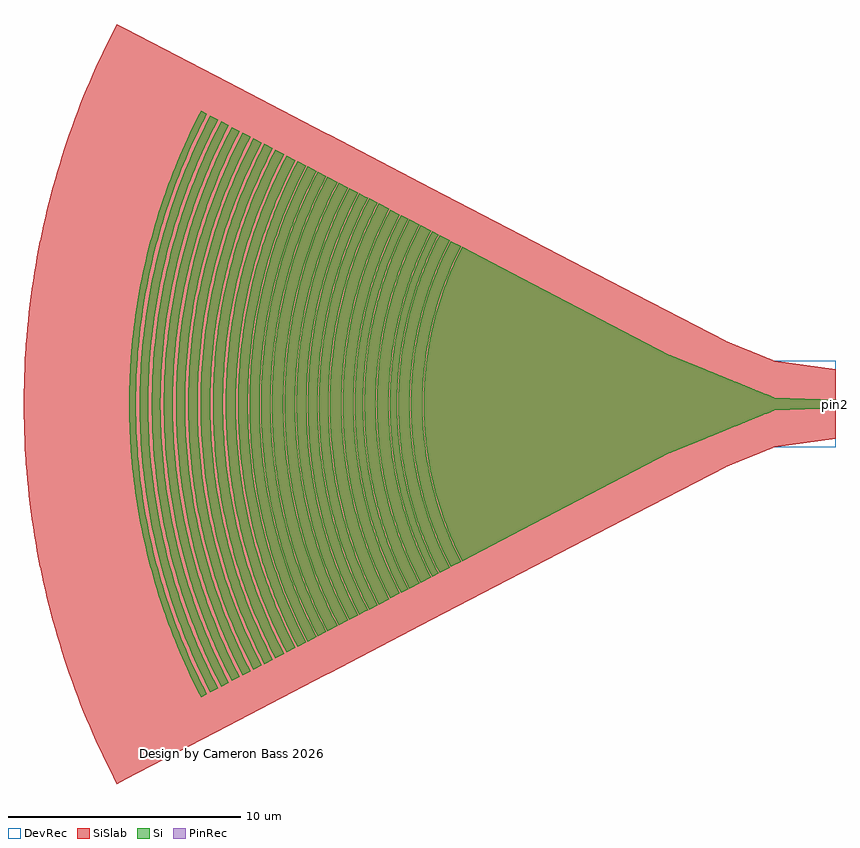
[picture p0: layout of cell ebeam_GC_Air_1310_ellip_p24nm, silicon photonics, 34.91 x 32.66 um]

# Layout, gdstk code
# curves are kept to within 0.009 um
import gdstk
lib = gdstk.Library(unit=1e-6, precision=1e-09)
def P(c, l, *ps):  # polygons
    for p in ps: c.add(gdstk.Polygon(p, *l))
Si = (1, 0)
PinRec = (1, 10)
SiSlab = (2, 0)
DevRec = (68, 0)

ebeam_gc_air_1310_ellip_ = lib.new_cell('ebeam_GC_Air_1310_ellip_p24nm')
P(ebeam_gc_air_1310_ellip_, Si, [(-16.058,-6.748),(-16.432,-5.979),(-16.807,-5.061),(-17.036,-4.391),(-17.301,-3.437),(-17.478,-2.605),(-17.605,-1.766),(-17.683,-0.92),(-17.711,-0.071),(-17.683,0.92),(-17.605,1.766),(-17.478,2.606),(-17.301,3.437),(-17.036,4.391),(-16.807,5.061),(-16.432,5.979),(-16.058,6.748),(-7.069,2.073),(-2.648,0.274),(0,0.175),(0,-0.175),(-2.684,-0.284),(-2.836,-0.359),(-3.176,-0.486),(-7.069,-2.073)],
  [(-16.55,-7.003),(-16.935,-6.209),(-17.272,-5.393),(-17.562,-4.56),(-17.802,-3.712),(-17.994,-2.851),(-18.134,-1.979),(-18.233,-0.956),(-18.263,-0.073),(-18.242,0.808),(-18.152,1.834),(-18.021,2.706),(-17.837,3.569),(-17.605,4.42),(-17.324,5.256),(-16.935,6.209),(-16.551,7.004),(-16.105,6.772),(-16.479,6),(-16.856,5.08),(-17.127,4.272),(-17.352,3.449),(-17.528,2.616),(-17.656,1.772),(-17.743,0.781),(-17.763,-0.071),(-17.743,-0.781),(-17.656,-1.772),(-17.502,-2.755),(-17.318,-3.587),(-17.085,-4.408),(-16.806,-5.212),(-16.479,-6),(-16.105,-6.772)],
  [(-17.031,-7.254),(-17.429,-6.433),(-17.778,-5.589),(-18.078,-4.725),(-18.327,-3.846),(-18.525,-2.954),(-18.67,-2.051),(-18.763,-1.142),(-18.79,-0.685),(-18.804,-0.076),(-18.782,0.837),(-18.707,1.749),(-18.628,2.353),(-18.553,2.803),(-18.363,3.698),(-18.123,4.579),(-17.832,5.445),(-17.429,6.433),(-17.031,7.254),(-16.596,7.028),(-16.859,6.499),(-17.042,6.095),(-17.373,5.275),(-17.655,4.435),(-17.889,3.581),(-18.071,2.716),(-18.204,1.84),(-18.285,0.958),(-18.315,0.074),(-18.294,-0.811),(-18.204,-1.84),(-18.071,-2.716),(-17.889,-3.581),(-17.655,-4.435),(-17.321,-5.413),(-16.982,-6.23),(-16.596,-7.028)],
  [(-17.351,-7.421),(-17.561,-7.005),(-17.821,-6.439),(-18.171,-5.571),(-18.422,-4.834),(-18.677,-3.935),(-18.88,-3.021),(-18.961,-2.561),(-19.048,-1.944),(-19.134,-1.013),(-19.165,-0.078),(-19.161,0.39),(-19.134,1.013),(-19.048,1.944),(-18.908,2.868),(-18.714,3.784),(-18.468,4.685),(-18.171,5.571),(-17.758,6.582),(-17.351,7.421),(-17.078,7.278),(-17.538,6.314),(-17.881,5.464),(-18.081,4.886),(-18.259,4.301),(-18.378,3.859),(-18.516,3.263),(-18.679,2.36),(-18.775,1.602),(-18.834,0.841),(-18.856,0.077),(-18.841,-0.688),(-18.79,-1.45),(-18.679,-2.36),(-18.546,-3.113),(-18.45,-3.561),(-18.3,-4.154),(-18.173,-4.595),(-17.983,-5.176),(-17.772,-5.749),(-17.538,-6.314),(-17.078,-7.278)],
  [(-17.847,-7.679),(-18.267,-6.811),(-18.694,-5.766),(-19.002,-4.849),(-19.256,-3.916),(-19.457,-2.968),(-19.601,-2.012),(-19.69,-1.047),(-19.723,-0.08),(-19.699,0.887),(-19.62,1.852),(-19.485,2.81),(-19.396,3.286),(-19.256,3.916),(-19.002,4.849),(-18.694,5.766),(-18.267,6.812),(-17.847,7.679),(-17.398,7.445),(-17.805,6.603),(-18.164,5.736),(-18.472,4.85),(-18.728,3.948),(-18.836,3.491),(-18.959,2.878),(-19.099,1.95),(-19.163,1.328),(-19.195,0.859),(-19.217,0.078),(-19.195,-0.859),(-19.163,-1.328),(-19.099,-1.95),(-18.959,-2.878),(-18.765,-3.795),(-18.648,-4.25),(-18.472,-4.85),(-18.164,-5.737),(-17.805,-6.603),(-17.398,-7.445)],
  [(-18.327,-7.929),(-18.761,-7.033),(-19.142,-6.11),(-19.314,-5.641),(-19.52,-5.007),(-19.782,-4.043),(-19.989,-3.065),(-20.139,-2.077),(-20.23,-1.083),(-20.264,-0.083),(-20.24,0.916),(-20.192,1.58),(-20.139,2.077),(-19.989,3.065),(-19.782,4.043),(-19.52,5.007),(-19.201,5.954),(-19.021,6.42),(-18.761,7.034),(-18.327,7.929),(-17.895,7.704),(-18.316,6.833),(-18.508,6.388),(-18.744,5.785),(-19.053,4.865),(-19.309,3.928),(-19.509,2.978),(-19.654,2.018),(-19.744,1.051),(-19.777,0.081),(-19.753,-0.89),(-19.673,-1.857),(-19.537,-2.819),(-19.449,-3.296),(-19.309,-3.927),(-19.053,-4.864),(-18.905,-5.326),(-18.687,-5.937),(-18.316,-6.833),(-17.895,-7.704)],
  [(-18.689,-8.117),(-19.133,-7.2),(-19.4,-6.572),(-19.584,-6.095),(-19.91,-5.126),(-20.179,-4.139),(-20.391,-3.138),(-20.544,-2.126),(-20.638,-1.108),(-20.672,-0.085),(-20.648,0.937),(-20.564,1.958),(-20.421,2.97),(-20.327,3.473),(-20.179,4.139),(-19.91,5.126),(-19.584,6.095),(-19.202,7.045),(-18.991,7.51),(-18.689,8.117),(-18.374,7.954),(-18.809,7.055),(-19.192,6.129),(-19.521,5.182),(-19.794,4.218),(-20.01,3.239),(-20.17,2.25),(-20.272,1.252),(-20.301,0.752),(-20.317,0.084),(-20.293,-0.919),(-20.228,-1.751),(-20.123,-2.58),(-19.979,-3.403),(-19.873,-3.892),(-19.709,-4.541),(-19.521,-5.182),(-19.363,-5.658),(-19.192,-6.129),(-18.943,-6.748),(-18.669,-7.359),(-18.374,-7.953)],
  [(-19.147,-8.356),(-19.604,-7.413),(-19.879,-6.766),(-20.069,-6.275),(-20.404,-5.277),(-20.681,-4.261),(-20.899,-3.23),(-21.057,-2.189),(-21.153,-1.141),(-21.189,-0.088),(-21.179,0.615),(-21.153,1.141),(-21.057,2.189),(-20.899,3.23),(-20.681,4.26),(-20.404,5.277),(-20.069,6.275),(-19.675,7.253),(-19.382,7.89),(-19.147,8.356),(-18.737,8.142),(-19.182,7.222),(-19.45,6.592),(-19.634,6.114),(-19.961,5.141),(-20.232,4.151),(-20.443,3.148),(-20.597,2.133),(-20.691,1.111),(-20.726,0.086),(-20.701,-0.941),(-20.617,-1.963),(-20.473,-2.979),(-20.38,-3.483),(-20.232,-4.151),(-19.961,-5.141),(-19.749,-5.791),(-19.574,-6.274),(-19.182,-7.221),(-18.737,-8.142)],
  [(-19.646,-8.616),(-20.115,-7.646),(-20.53,-6.643),(-20.886,-5.616),(-21.182,-4.571),(-21.417,-3.511),(-21.59,-2.438),(-21.7,-1.357),(-21.731,-0.815),(-21.749,-0.09),(-21.723,0.995),(-21.633,2.079),(-21.482,3.154),(-21.382,3.688),(-21.225,4.396),(-20.94,5.443),(-20.594,6.472),(-20.188,7.481),(-19.964,7.975),(-19.646,8.616),(-19.195,8.381),(-19.652,7.434),(-20.056,6.459),(-20.236,5.962),(-20.455,5.293),(-20.691,4.444),(-20.918,3.413),(-21.087,2.371),(-21.165,1.671),(-21.206,1.143),(-21.242,0.088),(-21.237,-0.44),(-21.206,-1.143),(-21.109,-2.195),(-20.951,-3.24),(-20.733,-4.273),(-20.455,-5.292),(-20.236,-5.962),(-20.056,-6.459),(-19.652,-7.434),(-19.195,-8.381)],
  [(-20.061,-8.832),(-20.543,-7.836),(-20.968,-6.808),(-21.334,-5.755),(-21.637,-4.684),(-21.878,-3.598),(-22.055,-2.498),(-22.168,-1.391),(-22.2,-0.835),(-22.218,-0.093),(-22.191,1.02),(-22.1,2.13),(-22.03,2.682),(-21.912,3.415),(-21.681,4.505),(-21.388,5.578),(-21.034,6.633),(-20.618,7.667),(-20.388,8.173),(-20.061,8.832),(-19.697,8.642),(-20.167,7.668),(-20.584,6.661),(-20.941,5.633),(-21.238,4.584),(-21.473,3.52),(-21.567,2.984),(-21.669,2.265),(-21.769,1.179),(-21.806,0.091),(-21.78,-0.999),(-21.743,-1.542),(-21.669,-2.264),(-21.506,-3.342),(-21.281,-4.407),(-20.994,-5.459),(-20.648,-6.492),(-20.241,-7.501),(-20.015,-7.998),(-19.697,-8.642)],
  [(-20.481,-9.051),(-20.976,-8.029),(-21.412,-6.975),(-21.786,-5.897),(-22.097,-4.8),(-22.228,-4.244),(-22.379,-3.499),(-22.549,-2.371),(-22.654,-1.236),(-22.693,-0.095),(-22.665,1.045),(-22.571,2.183),(-22.412,3.312),(-22.308,3.873),(-22.142,4.616),(-21.95,5.351),(-21.786,5.897),(-21.412,6.975),(-20.976,8.029),(-20.481,9.051),(-20.109,8.857),(-20.592,7.857),(-21.019,6.826),(-21.384,5.772),(-21.594,5.058),(-21.734,4.516),(-21.964,3.425),(-22.131,2.321),(-22.233,1.208),(-22.261,0.651),(-22.271,0.093),(-22.244,-1.023),(-22.19,-1.766),(-22.131,-2.32),(-21.964,-3.425),(-21.734,-4.516),(-21.594,-5.058),(-21.384,-5.772),(-21.019,-6.825),(-20.592,-7.857),(-20.109,-8.857)],
  [(-20.916,-9.277),(-21.177,-8.758),(-21.503,-8.049),(-21.94,-6.964),(-22.312,-5.857),(-22.573,-4.919),(-22.707,-4.349),(-22.862,-3.585),(-23.037,-2.43),(-23.144,-1.265),(-23.183,-0.097),(-23.178,0.488),(-23.144,1.265),(-23.037,2.43),(-22.862,3.586),(-22.619,4.73),(-22.312,5.857),(-21.94,6.965),(-21.503,8.05),(-21.177,8.757),(-20.916,9.277),(-20.533,9.077),(-21.029,8.05),(-21.328,7.349),(-21.534,6.815),(-21.898,5.731),(-22.2,4.627),(-22.436,3.509),(-22.607,2.378),(-22.712,1.238),(-22.751,0.096),(-22.74,-0.667),(-22.712,-1.238),(-22.607,-2.377),(-22.436,-3.509),(-22.2,-4.627),(-22.057,-5.182),(-21.842,-5.913),(-21.467,-6.993),(-21.029,-8.05),(-20.533,-9.077)],
  [(-21.367,-9.512),(-21.721,-8.8),(-21.968,-8.254),(-22.416,-7.142),(-22.798,-6.006),(-23.113,-4.85),(-23.362,-3.677),(-23.541,-2.492),(-23.651,-1.298),(-23.691,-0.1),(-23.686,0.5),(-23.651,1.299),(-23.541,2.492),(-23.362,3.677),(-23.113,4.85),(-22.798,6.006),(-22.416,7.142),(-21.968,8.255),(-21.635,8.98),(-21.367,9.512),(-20.963,9.301),(-21.472,8.249),(-21.921,7.166),(-22.305,6.059),(-22.525,5.31),(-22.671,4.741),(-22.801,4.17),(-22.913,3.595),(-23.089,2.436),(-23.196,1.269),(-23.225,0.684),(-23.236,0.098),(-23.208,-1.074),(-23.151,-1.854),(-23.089,-2.436),(-22.913,-3.595),(-22.801,-4.17),(-22.671,-4.741),(-22.525,-5.31),(-22.305,-6.059),(-21.921,-7.165),(-21.472,-8.249),(-20.963,-9.301)],
  [(-21.855,-9.765),(-22.128,-9.222),(-22.387,-8.664),(-22.631,-8.099),(-22.857,-7.527),(-23.068,-6.949),(-23.262,-6.364),(-23.597,-5.18),(-23.782,-4.38),(-23.901,-3.776),(-24.002,-3.169),(-24.085,-2.559),(-24.198,-1.333),(-24.228,-0.718),(-24.239,-0.102),(-24.21,1.128),(-24.109,2.356),(-24.002,3.169),(-23.901,3.776),(-23.646,4.981),(-23.493,5.577),(-23.322,6.168),(-23.135,6.755),(-22.93,7.335),(-22.631,8.099),(-22.387,8.665),(-22.128,9.222),(-21.855,9.766),(-21.414,9.536),(-21.935,8.458),(-22.395,7.348),(-22.789,6.213),(-23.117,5.057),(-23.256,4.472),(-23.376,3.883),(-23.568,2.697),(-23.69,1.501),(-23.725,0.901),(-23.744,0.1),(-23.715,-1.102),(-23.657,-1.901),(-23.593,-2.498),(-23.413,-3.687),(-23.165,-4.862),(-22.848,-6.022),(-22.466,-7.161),(-22.173,-7.907),(-21.935,-8.458),(-21.414,-9.536)],
  [(-22.269,-9.981),(-22.548,-9.425),(-22.813,-8.855),(-23.062,-8.277),(-23.294,-7.693),(-23.509,-7.102),(-23.769,-6.304),(-24.1,-5.091),(-24.36,-3.859),(-24.463,-3.239),(-24.548,-2.615),(-24.664,-1.363),(-24.706,-0.105),(-24.676,1.153),(-24.573,2.407),(-24.494,3.031),(-24.397,3.653),(-24.282,4.272),(-24.1,5.091),(-23.769,6.304),(-23.577,6.904),(-23.368,7.496),(-22.898,8.664),(-22.548,9.425),(-22.269,9.981),(-21.902,9.79),(-22.263,9.06),(-22.518,8.498),(-22.833,7.738),(-23.049,7.16),(-23.249,6.576),(-23.488,5.789),(-23.648,5.193),(-23.834,4.391),(-24.053,3.176),(-24.182,2.156),(-24.262,1.131),(-24.292,0.103),(-24.286,-0.515),(-24.262,-1.131),(-24.182,-2.157),(-24.053,-3.176),(-23.834,-4.391),(-23.648,-5.193),(-23.488,-5.789),(-23.249,-6.575),(-23.049,-7.16),(-22.757,-7.929),(-22.518,-8.497),(-22.263,-9.06),(-21.902,-9.79)],
  [(-22.703,-10.207),(-22.99,-9.637),(-23.261,-9.054),(-23.516,-8.463),(-23.753,-7.866),(-23.973,-7.261),(-24.175,-6.65),(-24.417,-5.827),(-24.577,-5.205),(-24.719,-4.577),(-24.843,-3.946),(-24.949,-3.312),(-25.036,-2.674),(-25.104,-2.034),(-25.154,-1.393),(-25.185,-0.751),(-25.197,-0.107),(-25.191,0.536),(-25.166,1.179),(-25.123,1.821),(-25.061,2.461),(-24.98,3.099),(-24.881,3.735),(-24.763,4.368),(-24.577,5.205),(-24.417,5.827),(-24.238,6.446),(-24.042,7.059),(-23.829,7.665),(-23.597,8.265),(-23.348,8.859),(-22.99,9.637),(-22.703,10.207),(-22.319,10.007),(-22.689,9.26),(-22.95,8.685),(-23.272,7.908),(-23.492,7.318),(-23.761,6.521),(-23.941,5.916),(-24.105,5.307),(-24.295,4.488),(-24.486,3.455),(-24.629,2.413),(-24.72,1.365),(-24.751,0.736),(-24.763,0.105),(-24.743,-0.946),(-24.651,-2.204),(-24.519,-3.246),(-24.295,-4.488),(-24.105,-5.307),(-23.941,-5.917),(-23.761,-6.521),(-23.492,-7.318),(-23.272,-7.908),(-22.95,-8.685),(-22.689,-9.26),(-22.319,-10.007)],
  [(-23.135,-10.432),(-23.431,-9.845),(-23.708,-9.249),(-23.968,-8.645),(-24.211,-8.035),(-24.436,-7.417),(-24.643,-6.793),(-24.831,-6.164),(-25.001,-5.529),(-25.286,-4.247),(-25.4,-3.599),(-25.495,-2.949),(-25.571,-2.297),(-25.643,-1.423),(-25.675,-0.767),(-25.687,-0.109),(-25.681,0.547),(-25.656,1.204),(-25.611,1.86),(-25.548,2.514),(-25.465,3.166),(-25.326,4.031),(-25.244,4.462),(-25.053,5.317),(-24.889,5.953),(-24.707,6.584),(-24.507,7.211),(-24.289,7.83),(-23.797,9.049),(-23.526,9.647),(-23.135,10.432),(-22.767,10.241),(-23.327,9.081),(-23.583,8.489),(-23.897,7.688),(-24.178,6.876),(-24.429,6.052),(-24.648,5.22),(-24.791,4.591),(-24.987,3.534),(-25.08,2.896),(-25.155,2.254),(-25.238,1.183),(-25.27,0.108),(-25.249,-0.968),(-25.155,-2.255),(-24.987,-3.534),(-24.791,-4.591),(-24.648,-5.22),(-24.429,-6.052),(-24.178,-6.876),(-23.897,-7.688),(-23.583,-8.489),(-23.327,-9.081),(-22.767,-10.24)],
  [(-23.604,-10.677),(-23.91,-10.07),(-24.194,-9.461),(-24.46,-8.843),(-24.708,-8.219),(-24.939,-7.587),(-25.15,-6.949),(-25.343,-6.305),(-25.517,-5.656),(-25.672,-5.001),(-25.808,-4.344),(-25.96,-3.46),(-26.051,-2.794),(-26.122,-2.125),(-26.174,-1.456),(-26.207,-0.784),(-26.22,-0.112),(-26.213,0.561),(-26.187,1.232),(-26.142,1.903),(-26.077,2.572),(-25.992,3.238),(-25.888,3.903),(-25.72,4.783),(-25.57,5.439),(-25.403,6.089),(-25.216,6.735),(-25.011,7.376),(-24.788,8.009),(-24.545,8.636),(-24.285,9.256),(-24.007,9.868),(-23.604,10.677),(-23.225,10.479),(-23.522,9.886),(-23.801,9.288),(-24.063,8.683),(-24.384,7.864),(-24.603,7.241),(-24.868,6.402),(-25.1,5.553),(-25.299,4.696),(-25.5,3.614),(-25.649,2.524),(-25.712,1.868),(-25.757,1.21),(-25.789,0.11),(-25.768,-0.99),(-25.73,-1.648),(-25.672,-2.306),(-25.534,-3.397),(-25.299,-4.696),(-25.153,-5.339),(-24.929,-6.191),(-24.672,-7.032),(-24.458,-7.656),(-24.146,-8.479),(-23.89,-9.087),(-23.617,-9.688),(-23.225,-10.479)],
  [(-24.087,-10.928),(-24.403,-10.301),(-24.693,-9.678),(-24.966,-9.046),(-25.22,-8.408),(-25.456,-7.762),(-25.672,-7.108),(-25.869,-6.45),(-26.047,-5.786),(-26.206,-5.116),(-26.346,-4.444),(-26.501,-3.54),(-26.594,-2.858),(-26.667,-2.174),(-26.72,-1.489),(-26.754,-0.802),(-26.767,-0.114),(-26.76,0.574),(-26.734,1.26),(-26.687,1.946),(-26.594,2.859),(-26.501,3.54),(-26.388,4.218),(-26.302,4.669),(-26.102,5.564),(-25.931,6.229),(-25.74,6.89),(-25.53,7.545),(-25.301,8.193),(-25.052,8.835),(-24.786,9.469),(-24.403,10.301),(-24.087,10.928),(-23.713,10.733),(-24.02,10.12),(-24.306,9.508),(-24.574,8.888),(-24.903,8.05),(-25.198,7.198),(-25.399,6.553),(-25.636,5.684),(-25.84,4.807),(-26.046,3.7),(-26.199,2.584),(-26.297,1.462),(-26.33,0.788),(-26.343,0.113),(-26.321,-1.013),(-26.281,-1.687),(-26.223,-2.36),(-26.081,-3.477),(-25.886,-4.586),(-25.743,-5.247),(-25.522,-6.12),(-25.267,-6.984),(-24.979,-7.838),(-24.743,-8.47),(-24.397,-9.302),(-24.02,-10.12),(-23.713,-10.733)],
  [(-24.557,-11.173),(-24.882,-10.529),(-25.179,-9.892),(-25.458,-9.246),(-25.717,-8.594),(-25.959,-7.933),(-26.18,-7.266),(-26.444,-6.367),(-26.62,-5.687),(-26.824,-4.772),(-26.912,-4.311),(-27.027,-3.618),(-27.122,-2.922),(-27.197,-2.222),(-27.252,-1.521),(-27.286,-0.82),(-27.299,-0.117),(-27.286,0.82),(-27.252,1.522),(-27.197,2.223),(-27.122,2.922),(-27.027,3.617),(-26.912,4.311),(-26.824,4.772),(-26.62,5.687),(-26.444,6.367),(-26.249,7.042),(-26.034,7.712),(-25.8,8.374),(-25.458,9.247),(-25.179,9.892),(-24.882,10.529),(-24.557,11.173),(-24.194,10.984),(-24.611,10.145),(-24.898,9.515),(-25.166,8.878),(-25.493,8.017),(-25.788,7.144),(-25.986,6.482),(-26.166,5.814),(-26.374,4.917),(-26.585,3.785),(-26.741,2.643),(-26.842,1.496),(-26.875,0.806),(-26.888,0.115),(-26.866,-1.036),(-26.788,-2.185),(-26.654,-3.329),(-26.547,-4.012),(-26.421,-4.691),(-26.221,-5.59),(-26.048,-6.26),(-25.788,-7.144),(-25.57,-7.8),(-25.251,-8.664),(-24.898,-9.515),(-24.611,-10.145),(-24.194,-10.984)],
  [(-25.03,-11.419),(-25.363,-10.759),(-25.667,-10.109),(-25.951,-9.449),(-26.217,-8.782),(-26.463,-8.107),(-26.689,-7.425),(-26.896,-6.737),(-27.082,-6.043),(-27.247,-5.344),(-27.394,-4.641),(-27.518,-3.934),(-27.623,-3.223),(-27.706,-2.51),(-27.769,-1.794),(-27.82,-0.838),(-27.834,-0.12),(-27.827,0.599),(-27.799,1.316),(-27.75,2.033),(-27.681,2.748),(-27.59,3.46),(-27.438,4.405),(-27.298,5.111),(-27.139,5.811),(-26.96,6.506),(-26.76,7.197),(-26.541,7.881),(-26.302,8.557),(-26.042,9.228),(-25.667,10.109),(-25.363,10.759),(-25.03,11.419),(-24.674,11.234),(-25.102,10.373),(-25.395,9.729),(-25.669,9.078),(-26.004,8.198),(-26.305,7.305),(-26.508,6.628),(-26.692,5.945),(-26.905,5.028),(-27.12,3.87),(-27.28,2.703),(-27.349,2),(-27.397,1.295),(-27.431,0.118),(-27.424,-0.588),(-27.397,-1.295),(-27.305,-2.469),(-27.157,-3.637),(-27.041,-4.335),(-26.905,-5.028),(-26.692,-5.945),(-26.508,-6.627),(-26.305,-7.305),(-26.004,-8.198),(-25.669,-9.078),(-25.395,-9.729),(-25,-10.586),(-24.674,-11.233)],
  [(-25.492,-11.659),(-25.832,-10.985),(-26.142,-10.321),(-26.432,-9.647),(-26.703,-8.966),(-26.955,-8.277),(-27.186,-7.581),(-27.397,-6.879),(-27.587,-6.17),(-27.756,-5.456),(-27.905,-4.739),(-28.071,-3.775),(-28.17,-3.048),(-28.248,-2.319),(-28.305,-1.588),(-28.34,-0.856),(-28.355,-0.122),(-28.34,0.856),(-28.305,1.588),(-28.248,2.319),(-28.17,3.048),(-28.071,3.775),(-27.95,4.498),(-27.808,5.218),(-27.645,5.933),(-27.462,6.643),(-27.259,7.347),(-27.035,8.046),(-26.79,8.737),(-26.525,9.421),(-26.142,10.321),(-25.832,10.985),(-25.492,11.659),(-25.148,11.48),(-25.586,10.6),(-25.885,9.942),(-26.255,9.053),(-26.508,8.377),(-26.816,7.465),(-27.023,6.773),(-27.269,5.842),(-27.429,5.138),(-27.649,3.955),(-27.754,3.24),(-27.838,2.523),(-27.931,1.324),(-27.966,0.121),(-27.943,-1.083),(-27.901,-1.803),(-27.838,-2.522),(-27.754,-3.24),(-27.649,-3.954),(-27.429,-5.137),(-27.211,-6.075),(-27.023,-6.773),(-26.816,-7.465),(-26.508,-8.377),(-26.255,-9.053),(-25.885,-9.942),(-25.586,-10.6),(-25.148,-11.48)],
  [(-25.957,-11.901),(-26.304,-11.214),(-26.621,-10.535),(-26.917,-9.848),(-27.194,-9.153),(-27.451,-8.449),(-27.687,-7.738),(-27.902,-7.022),(-28.096,-6.298),(-28.268,-5.57),(-28.467,-4.591),(-28.589,-3.853),(-28.691,-3.111),(-28.771,-2.367),(-28.829,-1.62),(-28.865,-0.873),(-28.879,-0.125),(-28.865,0.873),(-28.829,1.62),(-28.771,2.367),(-28.691,3.112),(-28.589,3.854),(-28.467,4.591),(-28.373,5.082),(-28.155,6.056),(-27.969,6.781),(-27.761,7.5),(-27.532,8.213),(-27.283,8.918),(-27.012,9.617),(-26.621,10.535),(-26.304,11.213),(-25.957,11.902),(-25.618,11.725),(-25.959,11.047),(-26.271,10.379),(-26.564,9.702),(-26.924,8.787),(-27.246,7.857),(-27.534,6.917),(-27.725,6.205),(-27.948,5.247),(-28.172,4.039),(-28.339,2.821),(-28.411,2.087),(-28.461,1.352),(-28.497,0.123),(-28.489,-0.615),(-28.461,-1.352),(-28.365,-2.577),(-28.21,-3.795),(-28.089,-4.523),(-27.948,-5.247),(-27.725,-6.204),(-27.534,-6.916),(-27.246,-7.857),(-26.924,-8.786),(-26.657,-9.474),(-26.371,-10.153),(-26.065,-10.825),(-25.618,-11.725)],
  [(-26.416,-12.14),(-26.77,-11.439),(-27.093,-10.747),(-27.395,-10.045),(-27.677,-9.336),(-27.94,-8.618),(-28.18,-7.893),(-28.399,-7.162),(-28.597,-6.425),(-28.773,-5.681),(-28.929,-4.934),(-29.062,-4.182),(-29.172,-3.426),(-29.261,-2.668),(-29.328,-1.907),(-29.382,-0.891),(-29.397,-0.127),(-29.389,0.636),(-29.36,1.399),(-29.308,2.161),(-29.234,2.922),(-29.138,3.678),(-28.976,4.683),(-28.88,5.184),(-28.658,6.178),(-28.468,6.917),(-28.256,7.651),(-28.022,8.378),(-27.768,9.097),(-27.492,9.81),(-27.093,10.747),(-26.77,11.438),(-26.416,12.14),(-26.087,11.969),(-26.435,11.277),(-26.754,10.595),(-27.053,9.904),(-27.42,8.97),(-27.749,8.021),(-27.973,7.302),(-28.238,6.334),(-28.412,5.602),(-28.564,4.864),(-28.695,4.123),(-28.865,2.88),(-28.975,1.63),(-29.011,0.878),(-29.026,0.126),(-29.018,-0.628),(-28.989,-1.38),(-28.892,-2.63),(-28.804,-3.378),(-28.695,-4.123),(-28.564,-4.864),(-28.412,-5.602),(-28.238,-6.334),(-27.973,-7.302),(-27.67,-8.259),(-27.419,-8.969),(-27.053,-9.904),(-26.754,-10.595),(-26.435,-11.277),(-26.087,-11.969)],
  [(-26.886,-12.385),(-27.239,-11.684),(-27.569,-10.977),(-27.878,-10.261),(-28.258,-9.292),(-28.517,-8.558),(-28.755,-7.815),(-28.971,-7.065),(-29.166,-6.31),(-29.338,-5.549),(-29.489,-4.784),(-29.617,-4.015),(-29.723,-3.242),(-29.805,-2.466),(-29.866,-1.689),(-29.904,-0.91),(-29.919,-0.13),(-29.904,0.91),(-29.866,1.689),(-29.805,2.466),(-29.723,3.242),(-29.617,4.015),(-29.489,4.784),(-29.338,5.55),(-29.166,6.31),(-28.971,7.065),(-28.755,7.815),(-28.517,8.558),(-28.258,9.293),(-27.878,10.261),(-27.569,10.977),(-27.239,11.684),(-26.886,12.386),(-26.554,12.213),(-27.02,11.276),(-27.339,10.576),(-27.732,9.63),(-28.001,8.911),(-28.329,7.941),(-28.549,7.204),(-28.749,6.463),(-28.981,5.465),(-29.215,4.207),(-29.389,2.938),(-29.463,2.174),(-29.515,1.408),(-29.553,0.128),(-29.528,-1.152),(-29.483,-1.918),(-29.416,-2.684),(-29.255,-3.953),(-29.128,-4.712),(-28.981,-5.465),(-28.749,-6.462),(-28.549,-7.205),(-28.329,-7.941),(-28.001,-8.911),(-27.732,-9.63),(-27.339,-10.576),(-27.02,-11.276),(-26.554,-12.212)],
  [(-27.284,-12.593),(-27.651,-11.864),(-27.986,-11.146),(-28.299,-10.419),(-28.591,-9.683),(-28.849,-8.98),(-29.112,-8.187),(-29.339,-7.429),(-29.544,-6.664),(-29.726,-5.893),(-29.887,-5.118),(-30.025,-4.337),(-30.14,-3.554),(-30.257,-2.504),(-30.313,-1.796),(-30.357,-0.924),(-30.372,-0.132),(-30.364,0.659),(-30.334,1.451),(-30.28,2.242),(-30.173,3.292),(-30.066,4.077),(-29.936,4.858),(-29.782,5.635),(-29.607,6.408),(-29.41,7.174),(-29.19,7.935),(-28.949,8.69),(-28.685,9.436),(-28.399,10.175),(-27.986,11.147),(-27.651,11.864),(-27.284,12.593),(-27.033,12.462),(-27.273,11.991),(-27.719,11.045),(-28.129,10.082),(-28.412,9.35),(-28.673,8.61),(-28.988,7.612),(-29.199,6.856),(-29.445,5.84),(-29.603,5.07),(-29.739,4.298),(-29.916,3.002),(-30.031,1.699),(-30.069,0.915),(-30.084,0.131),(-30.059,-1.177),(-30.013,-1.96),(-29.944,-2.742),(-29.853,-3.521),(-29.739,-4.298),(-29.603,-5.07),(-29.445,-5.839),(-29.264,-6.603),(-29.061,-7.36),(-28.835,-8.113),(-28.501,-9.104),(-28.226,-9.839),(-27.825,-10.805),(-27.5,-11.52),(-27.033,-12.462)])
P(ebeam_gc_air_1310_ellip_, SiSlab, [(-30.904,-16.329),(-31.366,-15.41),(-31.801,-14.477),(-32.208,-13.533),(-32.588,-12.577),(-32.94,-11.61),(-33.264,-10.634),(-33.559,-9.648),(-33.825,-8.655),(-34.062,-7.654),(-34.27,-6.647),(-34.449,-5.634),(-34.598,-4.616),(-34.717,-3.594),(-34.807,-2.569),(-34.867,-1.543),(-34.9,-0.171),(-34.89,0.857),(-34.85,1.885),(-34.781,2.912),(-34.681,3.935),(-34.552,4.956),(-34.393,5.972),(-34.135,7.319),(-33.907,8.322),(-33.651,9.318),(-33.365,10.307),(-33.051,11.286),(-32.709,12.256),(-32.338,13.216),(-31.94,14.164),(-31.366,15.41),(-30.904,16.329),(-4.744,2.708),(-2.65,1.855),(0,1.5),(0,-1.5),(-2.65,-1.855),(-4.728,-2.7)])
P(ebeam_gc_air_1310_ellip_, DevRec, [(-30.904,-16.329),(-31.366,-15.41),(-31.801,-14.477),(-32.208,-13.533),(-32.588,-12.577),(-32.94,-11.61),(-33.264,-10.634),(-33.559,-9.648),(-33.825,-8.655),(-34.062,-7.654),(-34.27,-6.647),(-34.449,-5.634),(-34.598,-4.616),(-34.717,-3.594),(-34.807,-2.569),(-34.867,-1.543),(-34.9,-0.171),(-34.89,0.857),(-34.85,1.885),(-34.781,2.912),(-34.681,3.935),(-34.552,4.956),(-34.393,5.972),(-34.135,7.319),(-33.907,8.322),(-33.651,9.318),(-33.365,10.307),(-33.051,11.286),(-32.709,12.256),(-32.338,13.216),(-31.94,14.164),(-31.366,15.41),(-30.904,16.329),(-4.744,2.708),(-2.65,1.855),(0,1.855),(0,-1.855),(-2.65,-1.855),(-4.728,-2.7)])
ebeam_gc_air_1310_ellip_.add(gdstk.FlexPath([(-0.01,0),(0.01,0)], 0.35, ends="flush", simple_path=True, layer=1, datatype=10))  # PinRec
ebeam_gc_air_1310_ellip_.add(gdstk.Label('pin2', (0,0), layer=1, texttype=10))
ebeam_gc_air_1310_ellip_.add(gdstk.Label('Design by Cameron Bass 2026', (-25.94,-15.02), layer=10, texttype=0))

lib.write_gds('ebeam_GC_Air_1310_ellip_p24nm.gds')
